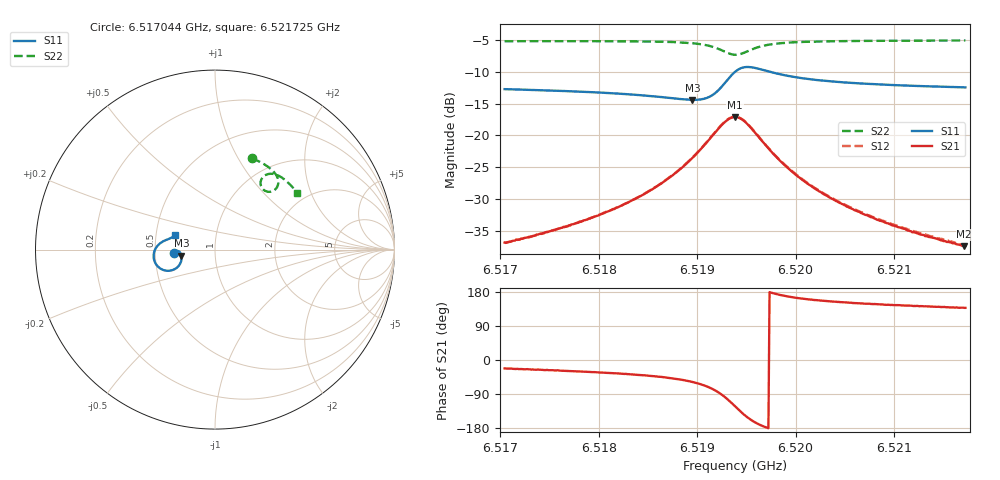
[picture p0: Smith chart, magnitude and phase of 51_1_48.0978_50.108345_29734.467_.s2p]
#  HZ  S  RI  R  50.00
! Rohde & Schwarz Vector Network Analyzer
! Rohde-Schwarz,ZNB20-2Port,1311601062101988,3.16
! Created: UTC 12/23/2023, 3:39:45 AM
! freq[Hz]  re:S11  im:S11  re:S21  im:S21  re:S12  im:S12  re:S22  im:S22
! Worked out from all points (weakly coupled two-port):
!   401 points, 6.517044 GHz to 6.521725 GHz, reference 50 ohm
!   highest |S21| = -17.12 dB at 6.519384 GHz (marker M1); lowest = -37.4 dB at 6.521713 GHz (marker M2)
!   lowest |S11| = -14.4 dB at 6.518951 GHz (marker M3), VSWR 1.47, Z = 34.2 - j2.34 ohm
!   |S11| at or under -10 dB: start of sweep to 6.519386 GHz; 6.519736 GHz to end of sweep
!   |S22| runs from -7.3 to -5.1 dB; largest |S21 - S12| = 0.0042
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6.5170436e9  -0.2302 -0.0164  0.0134 -0.00546  0.0134 -0.00501  0.2069 0.5081
6.5175117e9  -0.2249 -0.00974  0.0158 -0.00805  0.016 -0.0075  0.2414 0.4932
6.5178277e9  -0.2203 -0.00624  0.0183 -0.0107  0.0186 -0.0101  0.2648 0.4808
6.5182139e9  -0.2125 -0.00431  0.0225 -0.0163  0.0231 -0.0156  0.2937 0.4626
6.5186118e9  -0.2008 -0.00932  0.0293 -0.0285  0.0304 -0.0276  0.3246 0.4367
6.5188108e9  -0.1929 -0.019  0.0335 -0.0411  0.0351 -0.0403  0.3401 0.4172
6.5189512e9  -0.1873 -0.033  0.0354 -0.0565  0.0373 -0.0558  0.3492 0.3976
6.5190682e9  -0.1863 -0.0534  0.0326 -0.0765  0.0353 -0.076  0.3528 0.3749
6.5191502e9  -0.1922 -0.0744  0.0242 -0.0955  0.0273 -0.0955  0.3489 0.3548
6.5192906e9  -0.2371 -0.1143  -0.0219 -0.1274  -0.0184 -0.1291  0.314 0.3232
6.5193842e9  -0.2954 -0.1105  -0.0741 -0.118  -0.0714 -0.121  0.2736 0.3309
6.5194311e9  -0.3206 -0.0917  -0.0945 -0.0989  -0.0923 -0.1023  0.2592 0.3474
6.5194896e9  -0.3383 -0.0599  -0.1068 -0.0692  -0.1056 -0.0728  0.2537 0.3718
6.5195949e9  -0.3375 -0.00908  -0.1004 -0.0258  -0.1005 -0.029  0.2684 0.4054
6.5196885e9  -0.3228 0.0181  -0.0848 -0.00484  -0.0855 -0.00732  0.2889 0.4185
6.5199226e9  -0.2898 0.0454  -0.054 0.0119  -0.055 0.0106  0.3305 0.4205
6.5201684e9  -0.2693 0.0548  -0.0369 0.0142  -0.0378 0.0132  0.3592 0.409
6.5205312e9  -0.252 0.0619  -0.0242 0.0131  -0.0249 0.0127  0.3894 0.3886
6.5209525e9  -0.2399 0.0679  -0.0167 0.0114  -0.0172 0.011  0.4169 0.3637
6.5213387e9  -0.2317 0.0733  -0.0127 0.0102  -0.0132 0.01  0.4383 0.3401
6.5217132e9  -0.2252 0.0783  -0.00999 0.00913  -0.0105 0.00904  0.4571 0.3169
6.5217249e9  -0.225 0.0786  -0.01 0.00915  -0.0104 0.00893  0.4575 0.3162
